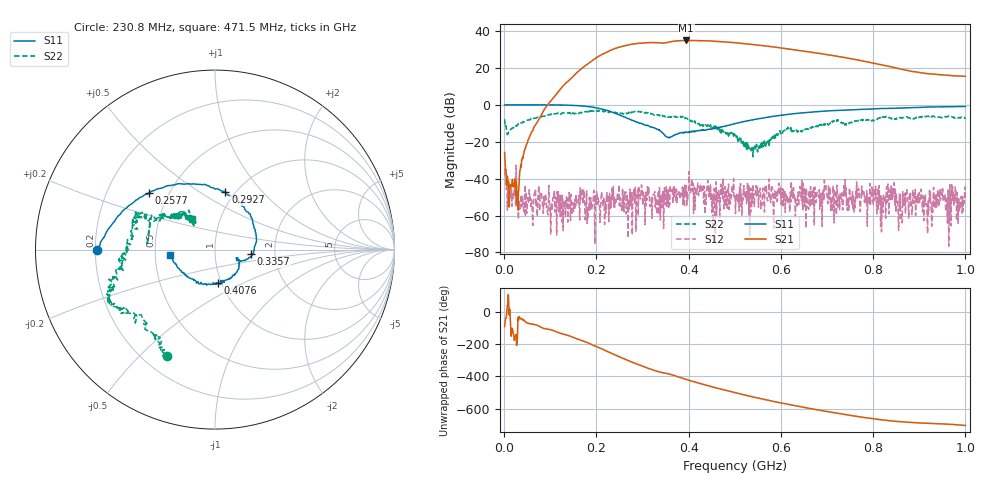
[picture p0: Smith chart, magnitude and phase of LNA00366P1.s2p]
! Created with skrf 1.9.0 (http://scikit-rf.org).
# Hz S RI R 50.0
!freq ReS11 ImS11 ReS21 ImS21 ReS12 ImS12 ReS22 ImS22
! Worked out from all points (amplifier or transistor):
!   1001 points, 1 MHz to 1 GHz, reference 50 ohm
!   highest |S21| = 34.9 dB at 394.6 MHz (marker M1)
!   |S21| within 3 dB of that: 259.5 MHz to 566.4 MHz (306.8 MHz wide, 74.3 % of centre) (the widest 1 of 2)
!   unconditionally stable (mu >= 1): 26.47 MHz to 67.26 MHz; 228.8 MHz to 400.5 MHz; 406.6 MHz to end of sweep (the widest 3 of 30)
!   at 166.8 MHz: K = 0.92, MSG = 34.3 dB, |S12| = -49.1 dB
!   at 500.5 MHz: K = 2.74, MAG = 34.3 dB, |S12| = -49.3 dB
!   at 1 GHz: K = 3.98, MAG = 24.1 dB, |S12| = -50.6 dB
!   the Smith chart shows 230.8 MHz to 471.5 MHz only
!   S11 on the Smith chart (normalised r, x): 230.8 MHz: 0.21, -0.00; 257.7 MHz: 0.39, +0.32; 292.7 MHz: 0.91, +0.65; 335.7 MHz: 1.50, -0.08; 407.6 MHz: 0.97, -0.37; 471.5 MHz: 0.60, -0.04
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1000000  0.9801 -0.00334  0.000163 -0.0513  -0.00716 -0.0108  0.2781 0.3012
1.08892e8  0.5111 -0.8542  -0.7688 -1.477  0.00228 0.00421  0.4235 -0.3578
1.67833e8  -0.2521 -0.8973  -9.587 -0.6793  -0.00311 0.00275  0.0555 -0.6185
2.05795e8  -0.667 -0.4359  -15.73 13.8  -0.00115 -0.00207  -0.1651 -0.6611
2.3077e8  -0.6591 -0.00277  -8.383 28.68  -0.00288 0.000794  -0.267 -0.5944
2.57743e8  -0.3662 0.3173  11.7 37.17  -0.00125 -0.000475  -0.3854 -0.4127
2.92708e8  0.0584 0.3191  39.47 24.27  -0.00514 0.00145  -0.5976 -0.2706
3.13687e8  0.2064 0.1709  47.79 7.377  -0.00478 0.00289  -0.5754 -0.1682
3.34666e8  0.2149 -0.0205  46.98 -8.844  -0.00218 0.00423  -0.5121 -0.0625
3.35665e8  0.2012 -0.0251  46.66 -9.556  0.000689 -0.000821  -0.5357 -0.0582
3.68632e8  0.1362 -0.0682  43.97 -29.79  -0.00255 0.00544  -0.4609 0.131
3.94606e8  0.0785 -0.1652  29.11 -47.2  0.00523 0.00388  -0.3888 0.1975
4.07593e8  0.018 -0.1873  19.33 -51.68  0.00363 0.00411  -0.3077 0.1595
4.37563e8  -0.1284 -0.1641  -4.261 -53.95  0.00038 0.00194  -0.1932 0.1927
4.71529e8  -0.2502 -0.0283  -25.63 -44.47  0.0036 0.00106  -0.1268 0.1689
5.005e8  -0.2796 0.1294  -37.65 -30.27  -0.00151 0.00306  -0.0896 0.1204
5.4046e8  -0.1994 0.3438  -41.86 -8.803  0.00303 0.00211  -0.0673 0.0141
5.88412e8  0.0155 0.498  -34.51 11.43  0.00263 -0.00107  -0.1072 -0.0722
6.67333e8  0.4016 0.4949  -12.33 23.21  0.00344 -0.00367  -0.2377 -0.0632
7.53247e8  0.6779 0.2789  4.18 17.07  -0.000498 -0.00272  -0.3319 0.0362
8.34166e8  0.8013 0.0216  7.779 7.815  0.000468 0.001  -0.4238 0.1428
1e9  0.7297 -0.5323  5.756 1.534  0.00293 0.000368  -0.1346 0.4189
